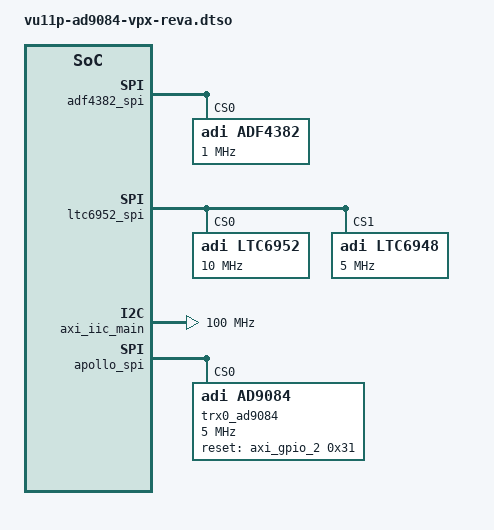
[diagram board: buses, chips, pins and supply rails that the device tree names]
/dts-v1/;
/plugin/;

#include <dt-bindings/iio/adc/adi,ad9088.h>
#include <dt-bindings/jesd204/adxcvr.h>

#ifndef DEVICE_PROFILE_NAME
#define DEVICE_PROFILE_NAME	"204C_M4_L8_NP16_2p5_4x2.bin"
#endif

#ifndef OUT_CLK_SELECT
#define OUT_CLK_SELECT		XCVR_PROGDIV_CLK
#endif

#ifndef ASYNM_A_B_MODE
#define ASYNM_A_B_MODE		1
#endif

#ifndef HSCI_ENABLE
#define HSCI_ENABLE		0
#endif

#ifndef VU11_FIRMWARE_NAME
#define VU11_FIRMWARE_NAME	"vu11p.bin"
#endif

&vu11p_fpga_region {
	#address-cells = <2>;
	#size-cells = <2>;

	firmware-name = VU11_FIRMWARE_NAME;
	
	mig_clkout1: clock@0 {
		#clock-cells = <0>;
		clock-frequency = <100000000>;
		clock-output-names = "vu11p_mig_1";
		compatible = "fixed-clock";
	};
	
	clkin_125: clock@1 {
		#clock-cells = <0>;
		clock-frequency = <125000000>;
		clock-output-names = "clkin_ref";
		compatible = "fixed-clock";
	};

	clkin_62p5: clock@2 {
		#clock-cells = <0>;
		clock-frequency = <62500000>;
		clock-output-names = "clkin_div2_ref";
		compatible = "fixed-clock";
	};

	axi_intc_0: interrupt-controller@88160000 {
		#interrupt-cells = <2>;
		clock-names = "mig_clkout1";
		clocks = <&mig_clkout1>;
		compatible = "xlnx,axi-intc-4.1", "xlnx,xps-intc-1.00.a";
		interrupt-controller;
		interrupt-names = "irq";
		interrupt-parent = <&gic>;
		interrupts = <0 104 4>;
		reg = <0x0 0x88160000 0x0 0x1000>;
		xlnx,kind-of-intr = <0xffe0385>;
		xlnx,num-intr-inputs = <17>;
	};

	adf4382_spi: spi@88000000 {
		bits-per-word = <8>;
		compatible = "xlnx,axi-quad-spi-3.2", "xlnx,xps-spi-2.00.a";
		fifo-size = <16>;
		interrupt-names = "ip2intc_irpt";
		interrupt-parent = <&axi_intc_0>;
		interrupts = <8 0>;
		num-cs = <0x1>;
		reg = <0x0 0x88000000 0x0 0x1000>;
		xlnx,num-ss-bits = <0x1>;
		xlnx,spi-mode = <0>;

		#address-cells = <1>;
		#size-cells = <0>;
		adf4382: adf4382@0 {
			#clock-cells = <1>;
			compatible = "adi,adf4382";
			reg = <0>;
			spi-max-frequency = <1000000>;
			clocks = <&clkin_62p5>;
			clock-names = "ref_clk";
			adi,ref-doubler-enable;
			clock-output-names = "adf4382_out_clk";
			adi,power-up-frequency = /bits/ 64 <20000000000>;
		};
	};

	ltc6952_spi: spi@881a0000 {
		bits-per-word = <8>;
		compatible = "xlnx,axi-quad-spi-3.2", "xlnx,xps-spi-2.00.a";
		fifo-size = <16>;
		interrupt-names = "ip2intc_irpt";
		interrupt-parent = <&axi_intc_0>;
		interrupts = <9 0>;
		num-cs = <2>;
		reg = <0x0 0x881A0000 0x0 0x1000>;
		xlnx,num-ss-bits = <0x2>;
		xlnx,spi-mode = <0>;

		#address-cells = <1>;
		#size-cells = <0>;

		ltc6952: ltc6952@0 {
			compatible = "adi,ltc6952";
			reg = <0>;
			#address-cells = <1>;
			#size-cells = <0>;
			spi-max-frequency = <10000000>;
			label = "ltc6952";

			clocks = <&clkin_125> , <&ltc6948>;
			clock-names = "clkin", "vcoin";
			vcoin-clock-scales = <1 10>;

			adi,vco-frequency-hz = <2500000000>;

			jesd204-device;
			#jesd204-cells = <2>;
			jesd204-sysref-provider;

			clock-output-names = "ltc6952_0_out0", "ltc6952_0_out1",
				"ltc6952_0_out2", "ltc6952_0_out3", "ltc6952_0_out4",
				"ltc6952_0_out5", "ltc6952_0_out6", "ltc6952_0_out7",
				"ltc6952_0_out8", "ltc6952_0_out9", "ltc6952_0_out10";

			#clock-cells = <1>;

			adi,pulse-generator-mode = <2>; /* Four Pulses */

			// channel@1 {
			//	reg = <1>;
			//	adi,extended-name = "Aurora RF GTH";
			//	adi,divider = <6>;
			//	adi,digital-delay = <0>;
			//	adi,analog-delay = <0>;
			// };
			// channel@2 {
			// 	reg = <2>;
			// 	adi,extended-name = "Apollo PLL REF CLK";
			// 	adi,divider = <6>;
			// 	adi,digital-delay = <0>;
			// 	adi,analog-delay = <0>;
			// 	adi,sysref-mode = <0>;
			// 	adi,jesd204-sysref-chan;
			// };
			channel@3 {
				reg = <3>;
				adi,extended-name = "Apollo SYSREF";
				adi,divider = <768>;
				adi,digital-delay = <0>;
				adi,analog-delay = <0>;
				adi,sysref-mode = <0>;
				adi,jesd204-sysref-chan;
			};
			channel@4 {
				reg = <4>;
				adi,extended-name = "VUP JESD SYSREF";
				adi,divider = <768>;
				adi,digital-delay = <0>;
				adi,analog-delay = <0>;
				adi,sysref-mode = <0>;
				adi,jesd204-sysref-chan;
			};
			channel@5 {
				reg = <5>;
				adi,extended-name = "VUP Core CLK";
				adi,divider = <8>;
				adi,digital-delay = <0>;
				adi,analog-delay = <0>;
			};
			channel@6 {
				reg = <6>;
				adi,extended-name = "JESD REF CLK 1";
				adi,divider = <4>;
				adi,digital-delay = <0>;
				adi,analog-delay = <0>;
			};
			channel@7 {
				reg = <7>;
				adi,extended-name = "JESD REF CLK 2";
				adi,divider = <4>;
				adi,digital-delay = <0>;
				adi,analog-delay = <0>;
			};
			// channel@8 {
			//	reg = <8>;
			//	adi,extended-name = "REF CLL RFPC";
			//	adi,divider = <6>;
			//	adi,digital-delay = <0>;
			//	adi,analog-delay = <0>;
			// };
			// channel@9 {
			//	reg = <9>;
			//	adi,extended-name = "SYNC RFPC";
			//	adi,divider = <6>;
			//	adi,digital-delay = <0>;
			//	adi,analog-delay = <0>;
			// };
			// channel@10 {
			//	reg = <10>;
			//	adi,extended-name = "Auroro RF GTY";
			//	adi,divider = <6>;
			//	adi,digital-delay = <0>;
			//	adi,analog-delay = <0>;
			// };
		};

		ltc6948: ltc6948@1 {
			#clock-cells = <0>;
			compatible = "adi,ltc6948";
			reg = <1>;
			spi-max-frequency = <5000000>;
			clocks = <&clkin_125>;
			clock-names = "clkin";
			clock-output-names = "ltc6948_out_clk";
			clock-scales = <1 10>;
		};
	};

	axi_gpio_0: gpio@88120000 {
		#gpio-cells = <2>;
		clock-frequency = <100000000>;
		clock-names = "s_axi_aclk";
		clocks = <&mig_clkout1>;
		compatible = "xlnx,axi-gpio-2.0", "xlnx,xps-gpio-1.00.a";
		gpio-controller ;
		reg = <0x0 0x88120000 0x0 0x10000>;
		xlnx,all-inputs = <0x0>;
		xlnx,all-inputs-2 = <0x0>;
		xlnx,all-outputs = <0x0>;
		xlnx,all-outputs-2 = <0x0>;
		xlnx,dout-default = <0x00000000>;
		xlnx,dout-default-2 = <0x00000000>;
		xlnx,gpio-width = <0x20>;
		xlnx,gpio2-width = <0x20>;
		xlnx,interrupt-present = <0x0>;
		xlnx,is-dual = <0x1>;
		xlnx,tri-default = <0xFFFFFFFF>;
		xlnx,tri-default-2 = <0xFFFFFFFF>;
	};

	axi_gpio_1: gpio@88130000 {
		#gpio-cells = <2>;
		clock-frequency = <100000000>;
		clock-names = "s_axi_aclk";
		clocks = <&mig_clkout1>;
		compatible = "xlnx,axi-gpio-2.0", "xlnx,xps-gpio-1.00.a";
		gpio-controller ;
		reg = <0x0 0x88130000 0x0 0x10000>;
		xlnx,all-inputs = <0x0>;
		xlnx,all-inputs-2 = <0x0>;
		xlnx,all-outputs = <0x0>;
		xlnx,all-outputs-2 = <0x0>;
		xlnx,dout-default = <0x00000000>;
		xlnx,dout-default-2 = <0x00000000>;
		xlnx,gpio-width = <0x20>;
		xlnx,gpio2-width = <0x20>;
		xlnx,interrupt-present = <0x0>;
		xlnx,is-dual = <0x1>;
		xlnx,tri-default = <0xFFFFFFFF>;
		xlnx,tri-default-2 = <0xFFFFFFFF>;
	};

	axi_gpio_2: gpio@88140000 {
		#gpio-cells = <2>;
		clock-frequency = <100000000>;
		clock-names = "s_axi_aclk";
		clocks = <&mig_clkout1>;
		compatible = "xlnx,axi-gpio-2.0", "xlnx,xps-gpio-1.00.a";
		gpio-controller;
		interrupt-controller;
		reg = <0x0 0x88140000 0x0 0x10000>;
		xlnx,all-inputs = <0x0>;
		xlnx,all-inputs-2 = <0x0>;
		xlnx,all-outputs = <0x0>;
		xlnx,all-outputs-2 = <0x0>;
		xlnx,dout-default = <0x00000000>;
		xlnx,dout-default-2 = <0x00000000>;
		xlnx,gpio-width = <0x20>;
		xlnx,gpio2-width = <0x13>;
		xlnx,interrupt-present = <0x0>;
		xlnx,is-dual = <0x1>;
		xlnx,tri-default = <0xFFFFFFFF>;
		xlnx,tri-default-2 = <0xFFFFFFFF>;
	};

	axi_iic_main: i2c@88150000 {
		clock-frequency = <100000000>;
		clocks = <&mig_clkout1>;
		compatible = "xlnx,axi-iic-2.1", "xlnx,xps-iic-2.00.a";
		interrupt-names = "iic2intc_irpt";
		interrupt-parent = <&axi_intc_0>;
		interrupts = <1 2>;
		reg = <0x0 0x88150000 0x0 0x10000>;
	};

	axi_sysid_0: axi_sysid@42000000 {
		compatible = "adi,axi-sysid-1.00.a";
		reg = <0x0 0x88170000 0x0 0x1000>;
	};

	rx_dma: dma@88090000 {
		compatible = "adi,axi-dmac-1.00.a";
		reg = <0x0 0x88090000 0x0 0x10000>;
		#dma-cells = <1>;
		#clock-cells = <0>;
		interrupt-parent = <&axi_intc_0>;
		interrupts = <3 2>;
		clocks = <&mig_clkout1>;
		memory-region = <&vu11p_ddr_dma>;
	};

	tx_dma: dma@880f0000  {
		compatible = "adi,axi-dmac-1.00.a";
		reg = <0x0 0x880F0000 0x0 0x10000>;
		#dma-cells = <1>;
		#clock-cells = <0>;
		interrupt-parent = <&axi_intc_0>;
		interrupts = <4 2>;
		clocks = <&mig_clkout1>;
		memory-region = <&vu11p_ddr_dma>;
	};

	axi_data_offload_rx: data_offload_rx@88020000 {
		compatible = "adi,axi-data-offload-1.0.a";
		reg = <0x0 0x88020000 0x0 0x10000>;
	};

	axi_data_offload_tx: data_offload_tx@88050000 {
		compatible = "adi,axi-data-offload-1.0.a";
		reg = <0x0 0x88050000 0x0 0x10000>;
	};

	axi_ad9084_adxcvr_rx: axi-adxcvr-rx@880b0000 {
		#address-cells = <1>;
		#size-cells = <0>;
		compatible = "adi,axi-adxcvr-1.0";
		reg = <0x0 0x880B0000 0x0 0x1000>;

		clocks = <&ltc6952 7>; /* div40 is controlled by axi_ad9084_rx_jesd */
		clock-names = "conv";

		#clock-cells = <1>;
		clock-output-names = "rx_gt_clk", "rx_out_clk";

		adi,sys-clk-select = <XCVR_QPLL1>;
		adi,out-clk-select = <OUT_CLK_SELECT>;
		adi,use-lpm-enable;

		jesd204-device;
		#jesd204-cells = <2>;
		jesd204-inputs =  <&ltc6952 0 FRAMER_LINK_A0_RX>;
	};

	axi_ad9084_adxcvr_tx: axi-adxcvr-tx@88110000 {
		#address-cells = <1>;
		#size-cells = <0>;
		compatible = "adi,axi-adxcvr-1.0";
		reg = <0x0 0x88110000 0x0 0x1000>;

		clocks = <&ltc6952 7>; /* div40 is controlled by axi_ad9084_tx_jesd */
		clock-names = "conv";

		#clock-cells = <1>;
		clock-output-names = "tx_gt_clk", "tx_out_clk";

		adi,sys-clk-select = <XCVR_QPLL1>;
		adi,out-clk-select = <OUT_CLK_SELECT>; /* XCVR_PROGDIV_CLK */

		jesd204-device;
		#jesd204-cells = <2>;
		jesd204-inputs =  <&ltc6952 0 DEFRAMER_LINK_A0_TX>;
	};

	axi_ad9084_rx_jesd: axi-jesd204-rx@880a0000 {
		compatible = "adi,axi-jesd204-rx-1.0";
		reg = <0x0 0x880a0000 0x0 0x1000>;
		interrupt-parent = <&axi_intc_0>;
		interrupts = <5 2>;

		clocks = <&mig_clkout1>, <&axi_ad9084_adxcvr_rx 1>, <&ltc6952 5>, <&axi_ad9084_adxcvr_rx 0>;
		clock-names = "s_axi_aclk", "link_clk", "device_clk", "lane_clk";

		#clock-cells = <0>;
		clock-output-names = "jesd_rx_lane_clk";

		jesd204-device;
		#jesd204-cells = <2>;
		jesd204-inputs = <&axi_ad9084_adxcvr_rx 0 FRAMER_LINK_A0_RX>;
	};

	axi_ad9084_tx_jesd: axi-jesd204-tx@88100000 {
		compatible = "adi,axi-jesd204-tx-1.0";
		reg = <0x0 0x88100000 0x0 0x1000>;

		interrupt-parent = <&axi_intc_0>;
		interrupts = <6 2>;

		clocks = <&mig_clkout1>, <&axi_ad9084_adxcvr_tx 1>, <&ltc6952 5>, <&axi_ad9084_adxcvr_tx 0>;
		clock-names = "s_axi_aclk", "link_clk", "device_clk", "lane_clk";

		#clock-cells = <0>;
		clock-output-names = "jesd_tx_lane_clk";

		jesd204-device;
		#jesd204-cells = <2>;
		jesd204-inputs = <&axi_ad9084_adxcvr_tx 0 DEFRAMER_LINK_A0_TX>;
	};

	apollo_spi: spi@88030000 {
		bits-per-word = <8>;
		compatible = "xlnx,axi-quad-spi-3.2", "xlnx,xps-spi-2.00.a";
		fifo-size = <16>;
		interrupt-names = "ip2intc_irpt";
		interrupt-parent = <&axi_intc_0>;
		interrupts = <7 0>;
		num-cs = <1>;
		reg = <0x0 0x88030000 0x0 0x1000>;
		xlnx,num-ss-bits = <0x1>;
		xlnx,spi-mode = <0>;

		#address-cells = <1>;
		#size-cells = <0>;

		trx0_ad9084: ad9084@0 {
			#address-cells = <1>;
			#size-cells = <0>;
			compatible = "adi,ad9084";
			reg = <0>;
			spi-max-frequency = <5000000>;

			/* Clocks */
			clocks = <&adf4382 0>;
			clock-names = "dev_clk";
			dev_clk-clock-scales = <1 10>;

			clock-output-names = "rx_sampl_clk", "tx_sampl_clk";
			#clock-cells = <1>;

			// interrupt-names = "fft_done_A", "fft_done_B";
			// interrupt-parent = <&axi_gpio>;
			// interrupts = <17 1 18 1>;

#if HSCI_ENABLE
			adi,axi-hsci-connected = <&axi_hsci>;
			adi,hsci-auto-linkup-mode-en;
			adi,hsci-disable-after-boot-en;
#endif

			jesd204-device;
			#jesd204-cells = <2>;
			jesd204-top-device = <0>; /* This is the TOP device */
			jesd204-ignore-errors;

#ifdef ASYNM_A_B_MODE
			jesd204-link-ids = <DEFRAMER_LINK_A0_TX DEFRAMER_LINK_B0_TX FRAMER_LINK_A0_RX FRAMER_LINK_B0_RX>;

			jesd204-inputs =
				<&axi_ad9084_core_rx 0 FRAMER_LINK_A0_RX>,
				<&axi_ad9084_rx_jesd_b 0 FRAMER_LINK_B0_RX>,
				<&axi_ad9084_core_tx 0 DEFRAMER_LINK_A0_TX>,
				<&axi_ad9084_core_tx_b 0 DEFRAMER_LINK_B0_TX>;

			adi,side-b-use-seperate-tpl-en;
#else
			jesd204-link-ids = <DEFRAMER_LINK_A0_TX FRAMER_LINK_A0_RX>;

			jesd204-inputs =
				<&axi_ad9084_core_rx 0 FRAMER_LINK_A0_RX>,
				<&axi_ad9084_core_tx 0 DEFRAMER_LINK_A0_TX>;
#endif

			reset-gpios = <&axi_gpio_2 0x31 0>;
			adi,device-profile-fw-name = DEVICE_PROFILE_NAME;
			
			adi,jrx0-physical-lane-mapping = <11 4  6 10 9 8 7 2 0 3 5 1>;
			adi,jtx0-logical-lane-mapping =  < 8 6 10 11 9 4 7 2 5 0 3 1>; 
			adi,jrx1-physical-lane-mapping = <3 1 5 0 7 2 8  6 4  9 10 11>;
			adi,jtx1-logical-lane-mapping =  <0 2 1 4 3 5 6 10 7 11  8  9>; 

			//adi,standalone-enable;
		};

	};

	axi_ad9084_core_rx: axi-ad9084-rx-hpc@881b0000 {
		compatible = "adi,axi-ad9081-rx-1.0";
		reg = <0x0 0x881B0000 0x0 0x1000>;
		dmas = <&rx_dma 0>;
		dma-names = "rx";
		spibus-connected = <&trx0_ad9084>;

		jesd204-device;
		#jesd204-cells = <2>;
		jesd204-inputs = <&axi_ad9084_rx_jesd 0 FRAMER_LINK_A0_RX>;
	};

	axi_ad9084_core_tx: axi-ad9084-tx-hpc@881d0000 {
		compatible = "adi,axi-ad9081-tx-1.0";
		reg = <0x0 0x881D0000 0x0 0x1000>;
		dmas = <&tx_dma 0>;
		dma-names = "tx";
		clocks = <&trx0_ad9084 1>;
		clock-names = "sampl_clk";
		spibus-connected = <&trx0_ad9084>;
		adi,axi-pl-fifo-enable;
		adi,axi-data-offload-connected = <&axi_data_offload_tx>;

		jesd204-device;
		#jesd204-cells = <2>;
		jesd204-inputs = <&axi_ad9084_tx_jesd 0 DEFRAMER_LINK_A0_TX>;
	};

#if HSCI_ENABLE
	hsci_clkgen: axi-clkgen@881F0000 {
		compatible = "adi,axi-clkgen-2.00.a";
		reg = <0x0 0x881F0000 0x0 0x1000>;
		#clock-cells = <0>;
		clocks = <&mig_clkout1>, <&mig_clkout1>;
		clock-names = "s_axi_aclk", "clkin1";
		clock-output-names = "hsci_clkgen";
	};

	axi_hsci: axi_hsci@88200000 {
		compatible = "adi,axi-hsci-1.0.a";
		reg = <0x0 0x88200000 0x0 0x40000>;
		clocks = <&hsci_clkgen>;
		clock-names = "pclk";
		adi,hsci-interface-speed-mhz = <800>;
	};
#endif

#ifdef ASYNM_A_B_MODE
	rx_dma_b: dma@88060000 {
		compatible = "adi,axi-dmac-1.00.a";
		reg = <0x0 0x88060000 0x0 0x10000>;
		#dma-cells = <1>;
		#clock-cells = <0>;
		interrupt-parent = <&axi_intc_0>;
		interrupts = <10 2>;
		clocks = <&mig_clkout1>;
		memory-region = <&vu11p_ddr_dma>;
	};

	tx_dma_b: dma@880c0000  {
		compatible = "adi,axi-dmac-1.00.a";
		reg = <0x0 0x880C0000 0x0 0x10000>;
		#dma-cells = <1>;
		#clock-cells = <0>;
		interrupt-parent = <&axi_intc_0>;
		interrupts = <11 2>;
		clocks = <&mig_clkout1>;
		memory-region = <&vu11p_ddr_dma>;

	};

	axi_ad9084_core_rx_b: axi-ad9084b-rx-b@881c0000 {
		compatible = "adi,axi-adc-tpl-so-10.0.a";
		reg = <0x0 0x881C0000 0x0 0x10000>;
		dmas = <&rx_dma_b 0>;
		dma-names = "rx";
		clocks = <&trx0_ad9084 0>; /* FIXME */
		clock-names = "sampl_clk";
		jesd204-device;
		#jesd204-cells = <2>;
		jesd204-inputs = <&axi_ad9084_rx_jesd_b 0 FRAMER_LINK_B0_RX>;
	};

	axi_ad9084_core_tx_b: axi-ad9084-tx-b@881e0000 {
		compatible = "adi,axi-ad9081-tx-1.0";
		reg = <0x0 0x881E0000 0x0 0x10000>;
		dmas = <&tx_dma_b 0>;
		dma-names = "tx";
		clocks = <&trx0_ad9084 1>; /* FIXME */
		clock-names = "sampl_clk";
		adi,axi-pl-fifo-enable;
		adi,axi-data-offload-connected = <&axi_data_offload_tx_b>;

		jesd204-device;
		#jesd204-cells = <2>;
		jesd204-inputs = <&axi_ad9084_tx_jesd_b 0 DEFRAMER_LINK_B0_TX>;
	};

	axi_ad9084_rx_jesd_b: axi-jesd204-rx-b@88070000 {
		compatible = "adi,axi-jesd204-rx-1.0";
		reg = <0x0 0x88070000 0x0 0x10000>;

		interrupt-parent = <&axi_intc_0>;
		interrupts = <12 2>;

		clocks = <&mig_clkout1>, <&axi_ad9084_adxcvr_rx_b 1>, <&ltc6952 5>, <&axi_ad9084_adxcvr_rx_b 0>;
		clock-names = "s_axi_aclk", "link_clk", "device_clk", "lane_clk";

		#clock-cells = <0>;
		clock-output-names = "jesd_rx_lane_clk_b";

		jesd204-device;
		#jesd204-cells = <2>;
		jesd204-inputs = <&axi_ad9084_adxcvr_rx_b 0 FRAMER_LINK_B0_RX>;
	};

	axi_ad9084_tx_jesd_b: axi-jesd204-tx-b@880d0000 {
		compatible = "adi,axi-jesd204-tx-1.0";
		reg = <0x0 0x880D0000 0x0 0x10000>;

		interrupt-parent = <&axi_intc_0>;
		interrupts = <13 2>;

		clocks = <&mig_clkout1>, <&axi_ad9084_adxcvr_tx_b 1>, <&ltc6952 5>, <&axi_ad9084_adxcvr_tx_b 0>;
		clock-names = "s_axi_aclk", "link_clk", "device_clk", "lane_clk";

		#clock-cells = <0>;
		clock-output-names = "jesd_tx_lane_clk_b";

		jesd204-device;
		#jesd204-cells = <2>;
		jesd204-inputs = <&axi_ad9084_adxcvr_tx_b 0 DEFRAMER_LINK_B0_TX>;
	};

	axi_ad9084_adxcvr_rx_b: axi-adxcvr-rx-b@88080000 {
		#address-cells = <1>;
		#size-cells = <0>;
		compatible = "adi,axi-adxcvr-1.0";
		reg = <0x0 0x88080000 0x0 0x10000>;

		clocks = <&ltc6952 6>; /* div40 is controlled by axi_ad9084_rx_jesd */
		clock-names = "conv";

		#clock-cells = <1>;
		clock-output-names = "rx_gt_clk_b", "rx_out_clk_b";

		adi,sys-clk-select = <XCVR_QPLL1>;
		adi,out-clk-select = <OUT_CLK_SELECT>;
		adi,use-lpm-enable;

		jesd204-device;
		#jesd204-cells = <2>;
		jesd204-inputs =  <&ltc6952 0 FRAMER_LINK_B0_RX>;
	};

	axi_ad9084_adxcvr_tx_b: axi-adxcvr-tx-b@880e0000 {
		#address-cells = <1>;
		#size-cells = <0>;
		compatible = "adi,axi-adxcvr-1.0";
		reg = <0x0 0x880E0000 0x0 0x10000>;

		clocks = <&ltc6952 6>; /* div40 is controlled by axi_ad9084_tx_jesd */
		clock-names = "conv";

		#clock-cells = <1>;
		clock-output-names = "tx_gt_clk_b", "tx_out_clk_b";

		adi,sys-clk-select = <XCVR_QPLL1>;
		adi,out-clk-select = <OUT_CLK_SELECT>; /* XCVR_PROGDIV_CLK */

		jesd204-device;
		#jesd204-cells = <2>;
		jesd204-inputs =  <&ltc6952 0 DEFRAMER_LINK_B0_TX>;
	};

	axi_data_offload_rx_b: data_offload_rx_b@88010000 {
		compatible = "adi,axi-data-offload-1.0.a";
		reg = <0x0 0x88010000 0x0 0x10000>;
	};

	axi_data_offload_tx_b: data_offload_tx_b@88040000 {
		compatible = "adi,axi-data-offload-1.0.a";
		reg = <0x0 0x88040000 0x0 0x10000>;
	};
#endif /* ASYNM_A_B_MODE */

	rfpc_one_bit_adc_dac: one-bit-adc-dac@0 {
		compatible = "adi,one-bit-adc-dac";
		#address-cells = <1>;
		#size-cells = <0>;
		status = "disabled";
	};
};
